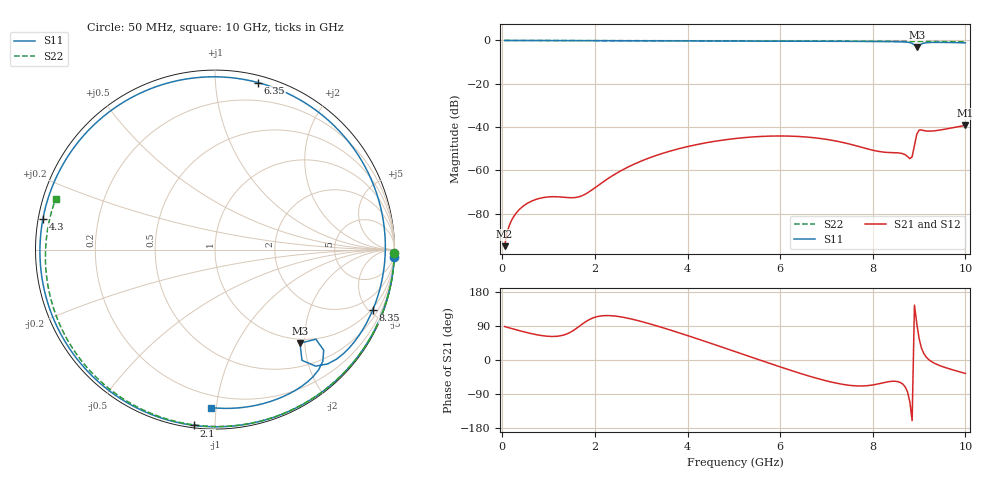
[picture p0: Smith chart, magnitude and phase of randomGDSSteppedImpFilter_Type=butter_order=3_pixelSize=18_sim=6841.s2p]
! freq	dB(S11)	phase(S11)	dB(S12)	phase(S12)
!  dB(S21)	phase(S21)	dB(S22)	phase(S22)
!S-par simulation data
#  GHz  S  DB  R 50
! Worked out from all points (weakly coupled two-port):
!   200 points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, 50 MHz to 10 GHz, reference 50 ohm
!   highest |S21| = -39.21 dB at 10 GHz (marker M1); lowest = -95.0 dB at 50 MHz (marker M2)
!   lowest |S11| = -3.0 dB at 8.95 GHz (marker M3), VSWR 5.77, Z = 45.8 - j95 ohm
!   |S11| at or under -10 dB: nowhere
!   |S22| runs from -0.6 to 0.0 dB; largest |S21 - S12| = 0
!   S11 on the Smith chart (normalised r, x): 50 MHz: 0, -47; 2.1 GHz: 0.01, -0.89; 4.3 GHz: 0.01, +0.09; 6.35 GHz: 0.05, +1.29; 8.35 GHz: 0.89, -5.26; 10 GHz: 0.12, -0.97
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0.05  -0.00 -2.4  -95.00 88.3  -95.00 88.3  -0.00 -1.1
0.3  -0.02 -14.4  -79.71 79.7  -79.71 79.7  -0.01 -6.8
0.6  -0.04 -28.6  -74.54 70.4  -74.54 70.4  -0.02 -13.5
1  -0.06 -47.4  -72.25 62.5  -72.25 62.5  -0.03 -22.4
1.75  -0.10 -81.4  -71.43 96.8  -71.43 96.8  -0.05 -38.8
2.1  -0.12 -96.8  -66.49 115.7  -66.49 115.7  -0.06 -46.3
2.7  -0.15 -122.5  -58.62 110.5  -58.62 110.5  -0.08 -58.9
3.4  -0.18 -151.9  -52.56 87.7  -52.56 87.7  -0.10 -73.2
4.3  -0.23 170.0  -47.66 52.3  -47.66 52.3  -0.13 -90.8
5.05  -0.27 136.9  -45.24 21.3  -45.24 21.3  -0.16 -105.0
5.75  -0.31 104.4  -44.19 -7.9  -44.19 -7.9  -0.20 -117.9
6.35  -0.34 75.5  -44.29 -32.1  -44.29 -32.1  -0.24 -128.8
6.7  -0.36 58.4  -44.85 -45.2  -44.85 -45.2  -0.26 -135.1
7.55  -0.42 17.1  -48.13 -67.5  -48.13 -67.5  -0.33 -150.4
8.35  -0.53 -21.0  -51.75 -57.1  -51.75 -57.1  -0.41 -165.1
8.8  -0.98 -45.5  -54.59 -110.3  -54.59 -110.3  -0.46 -173.6
8.85  -1.33 -49.2  -53.69 -160.0  -53.69 -160.0  -0.46 -174.6
8.95  -3.04 -47.8  -43.30 96.8  -43.30 96.8  -0.48 -176.5
9.05  -1.67 -42.8  -41.34 32.1  -41.34 32.1  -0.49 -178.4
9.15  -1.07 -49.2  -41.79 8.4  -41.79 8.4  -0.50 179.6
9.55  -0.91 -70.0  -41.01 -19.3  -41.01 -19.3  -0.55 171.7
10  -1.11 -91.4  -39.21 -35.5  -39.21 -35.5  -0.61 162.4
